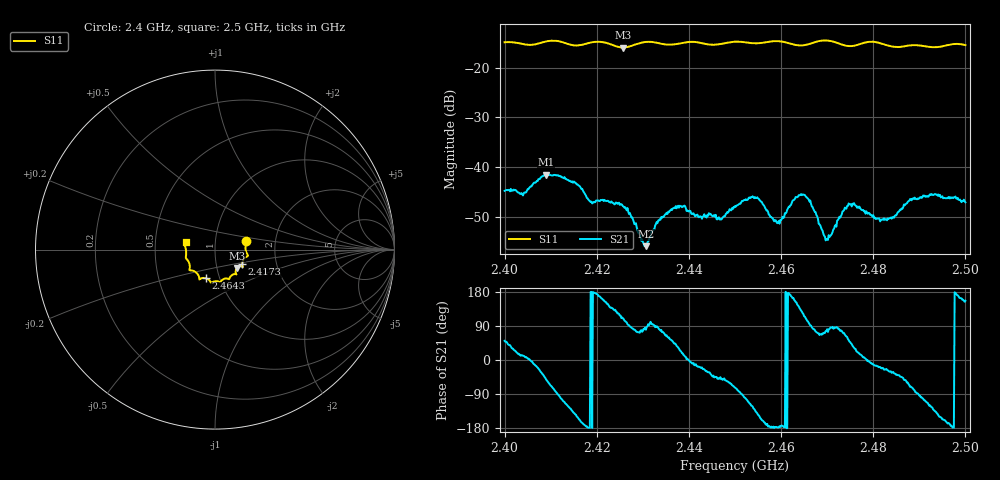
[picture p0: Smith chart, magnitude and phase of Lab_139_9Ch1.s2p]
# Hz S RI R
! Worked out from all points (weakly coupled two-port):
!   601 points, 2.4 GHz to 2.5 GHz, reference 50 ohm
!   highest |S21| = -41.53 dB at 2.409 GHz (marker M1); lowest = -56.0 dB at 2.4307 GHz (marker M2)
!   lowest |S11| = -15.9 dB at 2.4257 GHz (marker M3), VSWR 1.38, Z = 62.4 - j13.1 ohm
!   |S11| at or under -10 dB: start of sweep to end of sweep
!   S12 and S22 are empty: the file has one direction only
!   S11 on the Smith chart (normalised r, x): 2.4 GHz: 1.41, +0.14; 2.4173 GHz: 1.34, -0.23; 2.4643 GHz: 0.86, -0.28; 2.5 GHz: 0.72, +0.06
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2.4e9  0.1736 0.0493  0.00365 0.00444  0 0  0 0
2.404167e9  0.1709 0.0231  0.00538 0.00103  0 0  0 0
2.409e9  0.1819 -0.0281  0.00526 -0.00654  0 0  0 0
2.416667e9  0.1524 -0.0749  -0.00579 -0.00161  0 0  0 0
2.417333e9  0.152 -0.0822  -0.00538 -0.000835  0 0  0 0
2.419e9  0.1535 -0.0951  -0.0043 -4.86e-05  0 0  0 0
2.425667e9  0.1225 -0.1024  -0.0014 0.00379  0 0  0 0
2.430667e9  0.1188 -0.1379  0.000282 0.00157  0 0  0 0
2.433333e9  0.1128 -0.1366  0.000259 0.00288  0 0  0 0
2.437667e9  0.0839 -0.1529  0.00343 0.00219  0 0  0 0
2.4465e9  0.0436 -0.1668  0.00209 -0.00231  0 0  0 0
2.45e9  0.0296 -0.1807  0.00119 -0.00386  0 0  0 0
2.454333e9  0.00737 -0.176  -0.00335 -0.00369  0 0  0 0
2.4595e9  -0.0226 -0.1838  -0.00286 -0.00014  0 0  0 0
2.464333e9  -0.0502 -0.16  -0.00345 0.00407  0 0  0 0
2.466667e9  -0.0761 -0.1595  0.000242 0.00401  0 0  0 0
2.47e9  -0.0873 -0.1664  0.000285 0.00184  0 0  0 0
2.475e9  -0.1065 -0.1263  0.00287 0.0031  0 0  0 0
2.483333e9  -0.1405 -0.0894  0.00264 -0.00145  0 0  0 0
2.4885e9  -0.1615 -0.0485  0.00135 -0.0046  0 0  0 0
2.493167e9  -0.1607 -0.0118  -0.00355 -0.00388  0 0  0 0
2.5e9  -0.1639 0.0418  -0.00403 0.00179  0 0  0 0
